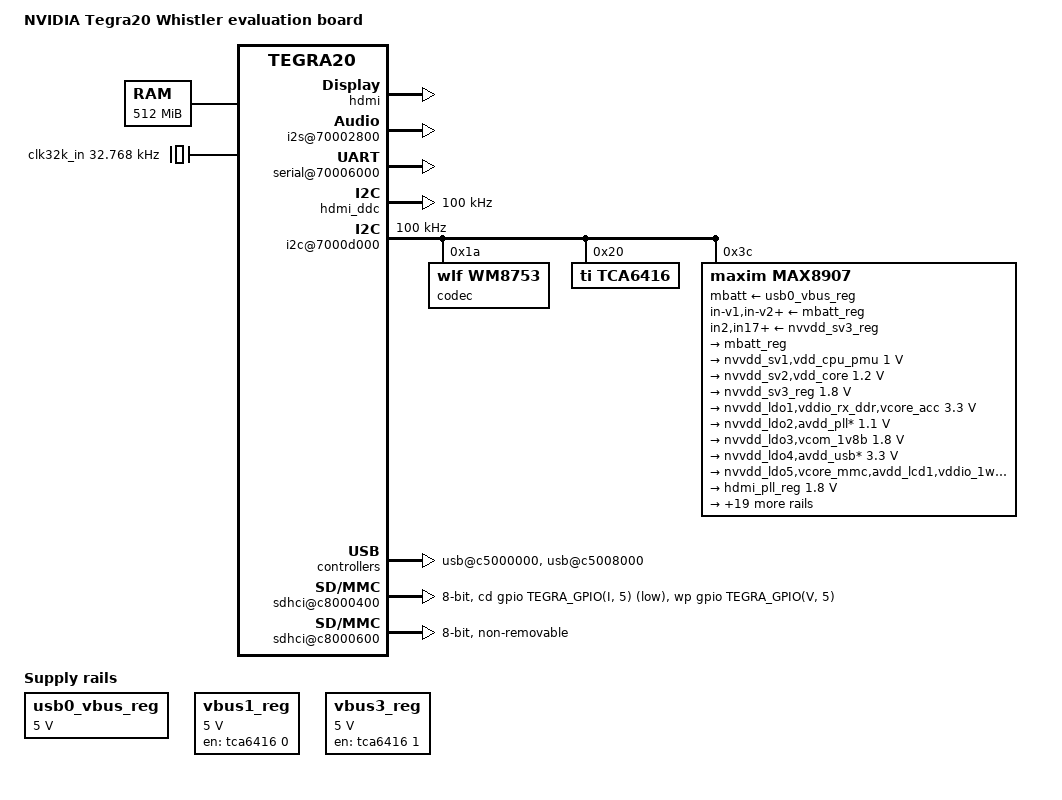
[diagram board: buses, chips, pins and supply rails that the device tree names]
/dts-v1/;

#include "tegra20.dtsi"

/ {
	model = "NVIDIA Tegra20 Whistler evaluation board";
	compatible = "nvidia,whistler", "nvidia,tegra20";

	memory {
		reg = <0x00000000 0x20000000>;
	};

	host1x {
		hdmi {
			status = "okay";

			vdd-supply = <&hdmi_vdd_reg>;
			pll-supply = <&hdmi_pll_reg>;

			nvidia,ddc-i2c-bus = <&hdmi_ddc>;
			nvidia,hpd-gpio = <&gpio TEGRA_GPIO(N, 7)
				GPIO_ACTIVE_HIGH>;
		};
	};

	pinmux {
		pinctrl-names = "default";
		pinctrl-0 = <&state_default>;

		state_default: pinmux {
			ata {
				nvidia,pins = "ata", "atb", "ate", "gma", "gmb",
					"gmc", "gmd", "gpu";
				nvidia,function = "gmi";
			};
			atc {
				nvidia,pins = "atc", "atd";
				nvidia,function = "sdio4";
			};
			cdev1 {
				nvidia,pins = "cdev1";
				nvidia,function = "plla_out";
			};
			cdev2 {
				nvidia,pins = "cdev2";
				nvidia,function = "osc";
			};
			crtp {
				nvidia,pins = "crtp";
				nvidia,function = "crt";
			};
			csus {
				nvidia,pins = "csus";
				nvidia,function = "vi_sensor_clk";
			};
			dap1 {
				nvidia,pins = "dap1";
				nvidia,function = "dap1";
			};
			dap2 {
				nvidia,pins = "dap2";
				nvidia,function = "dap2";
			};
			dap3 {
				nvidia,pins = "dap3";
				nvidia,function = "dap3";
			};
			dap4 {
				nvidia,pins = "dap4";
				nvidia,function = "dap4";
			};
			ddc {
				nvidia,pins = "ddc";
				nvidia,function = "i2c2";
			};
			dta {
				nvidia,pins = "dta", "dtb", "dtc", "dtd";
				nvidia,function = "vi";
			};
			dte {
				nvidia,pins = "dte";
				nvidia,function = "rsvd1";
			};
			dtf {
				nvidia,pins = "dtf";
				nvidia,function = "i2c3";
			};
			gme {
				nvidia,pins = "gme";
				nvidia,function = "dap5";
			};
			gpu7 {
				nvidia,pins = "gpu7";
				nvidia,function = "rtck";
			};
			gpv {
				nvidia,pins = "gpv";
				nvidia,function = "pcie";
			};
			hdint {
				nvidia,pins = "hdint", "pta";
				nvidia,function = "hdmi";
			};
			i2cp {
				nvidia,pins = "i2cp";
				nvidia,function = "i2cp";
			};
			irrx {
				nvidia,pins = "irrx", "irtx";
				nvidia,function = "uartb";
			};
			kbca {
				nvidia,pins = "kbca", "kbcc", "kbce", "kbcf";
				nvidia,function = "kbc";
			};
			kbcb {
				nvidia,pins = "kbcb", "kbcd";
				nvidia,function = "sdio2";
			};
			lcsn {
				nvidia,pins = "lcsn", "lsck", "lsda", "lsdi",
					"spia", "spib", "spic";
				nvidia,function = "spi3";
			};
			ld0 {
				nvidia,pins = "ld0", "ld1", "ld2", "ld3", "ld4",
					"ld5", "ld6", "ld7", "ld8", "ld9",
					"ld10", "ld11", "ld12", "ld13", "ld14",
					"ld15", "ld16", "ld17", "ldc", "ldi",
					"lhp0", "lhp1", "lhp2", "lhs", "lm0",
					"lm1", "lpp", "lpw0", "lpw1", "lpw2",
					"lsc0", "lsc1", "lspi", "lvp0", "lvp1",
					"lvs";
				nvidia,function = "displaya";
			};
			owc {
				nvidia,pins = "owc", "uac";
				nvidia,function = "owr";
			};
			pmc {
				nvidia,pins = "pmc";
				nvidia,function = "pwr_on";
			};
			rm {
				nvidia,pins = "rm";
				nvidia,function = "i2c1";
			};
			sdb {
				nvidia,pins = "sdb", "sdc", "sdd", "slxa",
					"slxc", "slxd", "slxk";
				nvidia,function = "sdio3";
			};
			sdio1 {
				nvidia,pins = "sdio1";
				nvidia,function = "sdio1";
			};
			spdi {
				nvidia,pins = "spdi", "spdo";
				nvidia,function = "rsvd2";
			};
			spid {
				nvidia,pins = "spid", "spie", "spig", "spih";
				nvidia,function = "spi2_alt";
			};
			spif {
				nvidia,pins = "spif";
				nvidia,function = "spi2";
			};
			uaa {
				nvidia,pins = "uaa", "uab";
				nvidia,function = "uarta";
			};
			uad {
				nvidia,pins = "uad";
				nvidia,function = "irda";
			};
			uca {
				nvidia,pins = "uca", "ucb";
				nvidia,function = "uartc";
			};
			uda {
				nvidia,pins = "uda";
				nvidia,function = "spi1";
			};
			conf_ata {
				nvidia,pins = "ata", "atb", "atc", "ddc", "gma",
					"gmb", "gmc", "gmd", "irrx", "irtx",
					"kbca", "kbcb", "kbcc", "kbcd", "kbce",
					"kbcf", "sdc", "sdd", "spie", "spig",
					"spih", "uaa", "uab", "uad", "uca",
					"ucb";
				nvidia,pull = <2>;
				nvidia,tristate = <0>;
			};
			conf_atd {
				nvidia,pins = "atd", "ate", "cdev1", "csus",
					"dap1", "dap2", "dap3", "dap4", "dte",
					"dtf", "gpu", "gpu7", "gpv", "i2cp",
					"rm", "sdio1", "slxa", "slxc", "slxd",
					"slxk", "spdi", "spdo", "uac", "uda";
				nvidia,pull = <0>;
				nvidia,tristate = <0>;
			};
			conf_cdev2 {
				nvidia,pins = "cdev2", "spia", "spib";
				nvidia,pull = <1>;
				nvidia,tristate = <1>;
			};
			conf_ck32 {
				nvidia,pins = "ck32", "ddrc", "lc", "pmca",
					"pmcb", "pmcc", "pmcd", "xm2c",
					"xm2d";
				nvidia,pull = <0>;
			};
			conf_crtp {
				nvidia,pins = "crtp";
				nvidia,pull = <0>;
				nvidia,tristate = <1>;
			};
			conf_dta {
				nvidia,pins = "dta", "dtb", "dtc", "dtd",
					"spid", "spif";
				nvidia,pull = <1>;
				nvidia,tristate = <0>;
			};
			conf_gme {
				nvidia,pins = "gme", "owc", "pta", "spic";
				nvidia,pull = <2>;
				nvidia,tristate = <1>;
			};
			conf_ld17_0 {
				nvidia,pins = "ld17_0", "ld19_18", "ld21_20",
					"ld23_22";
				nvidia,pull = <1>;
			};
			conf_ls {
				nvidia,pins = "ls", "pmce";
				nvidia,pull = <2>;
			};
			drive_dap1 {
				nvidia,pins = "drive_dap1";
				nvidia,high-speed-mode = <0>;
				nvidia,schmitt = <1>;
				nvidia,low-power-mode = <0>;
				nvidia,pull-down-strength = <0>;
				nvidia,pull-up-strength = <0>;
				nvidia,slew-rate-rising = <0>;
				nvidia,slew-rate-falling = <0>;
			};
		};
	};

	i2s@70002800 {
		status = "okay";
	};

	serial@70006000 {
		status = "okay";
	};

	hdmi_ddc: i2c@7000c400 {
		status = "okay";
		clock-frequency = <100000>;
	};

	i2c@7000d000 {
		status = "okay";
		clock-frequency = <100000>;

		codec: codec@1a {
			compatible = "wlf,wm8753";
			reg = <0x1a>;
		};

		tca6416: gpio@20 {
			compatible = "ti,tca6416";
			reg = <0x20>;
			gpio-controller;
			#gpio-cells = <2>;
		};

		max8907@3c {
			compatible = "maxim,max8907";
			reg = <0x3c>;
			interrupts = <GIC_SPI 86 IRQ_TYPE_LEVEL_HIGH>;

			maxim,system-power-controller;

			mbatt-supply = <&usb0_vbus_reg>;
			in-v1-supply = <&mbatt_reg>;
			in-v2-supply = <&mbatt_reg>;
			in-v3-supply = <&mbatt_reg>;
			in1-supply = <&mbatt_reg>;
			in2-supply = <&nvvdd_sv3_reg>;
			in3-supply = <&mbatt_reg>;
			in4-supply = <&mbatt_reg>;
			in5-supply = <&mbatt_reg>;
			in6-supply = <&mbatt_reg>;
			in7-supply = <&mbatt_reg>;
			in8-supply = <&mbatt_reg>;
			in9-supply = <&mbatt_reg>;
			in10-supply = <&mbatt_reg>;
			in11-supply = <&mbatt_reg>;
			in12-supply = <&mbatt_reg>;
			in13-supply = <&mbatt_reg>;
			in14-supply = <&mbatt_reg>;
			in15-supply = <&mbatt_reg>;
			in16-supply = <&mbatt_reg>;
			in17-supply = <&nvvdd_sv3_reg>;
			in18-supply = <&nvvdd_sv3_reg>;
			in19-supply = <&mbatt_reg>;
			in20-supply = <&mbatt_reg>;

			regulators {
				mbatt_reg: mbatt {
					regulator-name = "vbat_pmu";
					regulator-always-on;
				};

				sd1 {
					regulator-name = "nvvdd_sv1,vdd_cpu_pmu";
					regulator-min-microvolt = <1000000>;
					regulator-max-microvolt = <1000000>;
					regulator-always-on;
				};

				sd2 {
					regulator-name = "nvvdd_sv2,vdd_core";
					regulator-min-microvolt = <1200000>;
					regulator-max-microvolt = <1200000>;
					regulator-always-on;
				};

				nvvdd_sv3_reg: sd3 {
					regulator-name = "nvvdd_sv3";
					regulator-min-microvolt = <1800000>;
					regulator-max-microvolt = <1800000>;
					regulator-always-on;
				};

				ldo1 {
					regulator-name = "nvvdd_ldo1,vddio_rx_ddr,vcore_acc";
					regulator-min-microvolt = <3300000>;
					regulator-max-microvolt = <3300000>;
					regulator-always-on;
				};

				ldo2 {
					regulator-name = "nvvdd_ldo2,avdd_pll*";
					regulator-min-microvolt = <1100000>;
					regulator-max-microvolt = <1100000>;
					regulator-always-on;
				};

				ldo3 {
					regulator-name = "nvvdd_ldo3,vcom_1v8b";
					regulator-min-microvolt = <1800000>;
					regulator-max-microvolt = <1800000>;
					regulator-always-on;
				};

				ldo4 {
					regulator-name = "nvvdd_ldo4,avdd_usb*";
					regulator-min-microvolt = <3300000>;
					regulator-max-microvolt = <3300000>;
					regulator-always-on;
				};

				ldo5 {
					regulator-name = "nvvdd_ldo5,vcore_mmc,avdd_lcd1,vddio_1wire";
					regulator-min-microvolt = <2800000>;
					regulator-max-microvolt = <2800000>;
					regulator-always-on;
				};

				hdmi_pll_reg: ldo6 {
					regulator-name = "nvvdd_ldo6,avdd_hdmi_pll";
					regulator-min-microvolt = <1800000>;
					regulator-max-microvolt = <1800000>;
				};

				ldo7 {
					regulator-name = "nvvdd_ldo7,avddio_audio";
					regulator-min-microvolt = <2800000>;
					regulator-max-microvolt = <2800000>;
					regulator-always-on;
				};

				ldo8 {
					regulator-name = "nvvdd_ldo8,vcom_3v0,vcore_cmps";
					regulator-min-microvolt = <3000000>;
					regulator-max-microvolt = <3000000>;
				};

				ldo9 {
					regulator-name = "nvvdd_ldo9,avdd_cam*";
					regulator-min-microvolt = <2800000>;
					regulator-max-microvolt = <2800000>;
				};

				ldo10 {
					regulator-name = "nvvdd_ldo10,avdd_usb_ic_3v0";
					regulator-min-microvolt = <3000000>;
					regulator-max-microvolt = <3000000>;
					regulator-always-on;
				};

				hdmi_vdd_reg: ldo11 {
					regulator-name = "nvvdd_ldo11,vddio_pex_clk,vcom_33,avdd_hdmi";
					regulator-min-microvolt = <3300000>;
					regulator-max-microvolt = <3300000>;
				};

				ldo12 {
					regulator-name = "nvvdd_ldo12,vddio_sdio";
					regulator-min-microvolt = <2800000>;
					regulator-max-microvolt = <2800000>;
					regulator-always-on;
				};

				ldo13 {
					regulator-name = "nvvdd_ldo13,vcore_phtn,vdd_af";
					regulator-min-microvolt = <2800000>;
					regulator-max-microvolt = <2800000>;
				};

				ldo14 {
					regulator-name = "nvvdd_ldo14,avdd_vdac";
					regulator-min-microvolt = <2800000>;
					regulator-max-microvolt = <2800000>;
				};

				ldo15 {
					regulator-name = "nvvdd_ldo15,vcore_temp,vddio_hdcp";
					regulator-min-microvolt = <3300000>;
					regulator-max-microvolt = <3300000>;
				};

				ldo16 {
					regulator-name = "nvvdd_ldo16,vdd_dbrtr";
					regulator-min-microvolt = <1300000>;
					regulator-max-microvolt = <1300000>;
				};

				ldo17 {
					regulator-name = "nvvdd_ldo17,vddio_mipi";
					regulator-min-microvolt = <1200000>;
					regulator-max-microvolt = <1200000>;
				};

				ldo18 {
					regulator-name = "nvvdd_ldo18,vddio_vi,vcore_cam*";
					regulator-min-microvolt = <1800000>;
					regulator-max-microvolt = <1800000>;
				};

				ldo19 {
					regulator-name = "nvvdd_ldo19,avdd_lcd2,vddio_lx";
					regulator-min-microvolt = <2800000>;
					regulator-max-microvolt = <2800000>;
				};

				ldo20 {
					regulator-name = "nvvdd_ldo20,vddio_ddr_1v2,vddio_hsic,vcom_1v2";
					regulator-min-microvolt = <1200000>;
					regulator-max-microvolt = <1200000>;
					regulator-always-on;
				};

				out5v {
					regulator-name = "usb0_vbus_reg";
				};

				out33v {
					regulator-name = "pmu_out3v3";
				};

				bbat {
					regulator-name = "pmu_bbat";
					regulator-min-microvolt = <2400000>;
					regulator-max-microvolt = <2400000>;
					regulator-always-on;
				};

				sdby {
					regulator-name = "vdd_aon";
					regulator-always-on;
				};

				vrtc {
					regulator-name = "vrtc,pmu_vccadc";
					regulator-always-on;
				};
			};
		};
	};

	pmc {
		nvidia,invert-interrupt;
		nvidia,suspend-mode = <2>;
		nvidia,cpu-pwr-good-time = <2000>;
		nvidia,cpu-pwr-off-time = <1000>;
		nvidia,core-pwr-good-time = <0 3845>;
		nvidia,core-pwr-off-time = <93727>;
		nvidia,core-power-req-active-high;
		nvidia,sys-clock-req-active-high;
		nvidia,combined-power-req;
	};

	usb@c5000000 {
		status = "okay";
		nvidia,vbus-gpio = <&tca6416 0 GPIO_ACTIVE_HIGH>;
	};

	usb-phy@c5000000 {
		status = "okay";
		vbus-supply = <&vbus1_reg>;
	};

	usb@c5008000 {
		status = "okay";
		nvidia,vbus-gpio = <&tca6416 1 GPIO_ACTIVE_HIGH>;
	};

	usb-phy@c5008000 {
		status = "okay";
		vbus-supply = <&vbus3_reg>;
	};

	sdhci@c8000400 {
		status = "okay";
		cd-gpios = <&gpio TEGRA_GPIO(I, 5) GPIO_ACTIVE_LOW>;
		wp-gpios = <&gpio TEGRA_GPIO(V, 5) GPIO_ACTIVE_HIGH>;
		bus-width = <8>;
	};

	sdhci@c8000600 {
		status = "okay";
		bus-width = <8>;
		non-removable;
	};

	clocks {
		compatible = "simple-bus";
		#address-cells = <1>;
		#size-cells = <0>;

		clk32k_in: clock {
			compatible = "fixed-clock";
			reg=<0>;
			#clock-cells = <0>;
			clock-frequency = <32768>;
		};
	};

	kbc {
		status = "okay";
		nvidia,debounce-delay-ms = <20>;
		nvidia,repeat-delay-ms = <160>;
		nvidia,kbc-row-pins = <0 1 2>;
		nvidia,kbc-col-pins = <16 17>;
		nvidia,wakeup-source;
		linux,keymap = <0x00000074	/* KEY_POWER */
				0x01000066	/* KEY_HOME */
				0x0101009E	/* KEY_BACK */
				0x0201008B>;	/* KEY_MENU */
	};

	regulators {
		compatible = "simple-bus";
		#address-cells = <1>;
		#size-cells = <0>;

		usb0_vbus_reg: regulator {
			compatible = "regulator-fixed";
			reg = <0>;
			regulator-name = "usb0_vbus";
			regulator-min-microvolt = <5000000>;
			regulator-max-microvolt = <5000000>;
			regulator-always-on;
		};

		vbus1_reg: regulator@2 {
			compatible = "regulator-fixed";
			reg = <2>;
			regulator-name = "vbus1";
			regulator-min-microvolt = <5000000>;
			regulator-max-microvolt = <5000000>;
			enable-active-high;
			gpio = <&tca6416 0 0>; /* GPIO_PMU0 */
			regulator-always-on;
			regulator-boot-on;
		};

		vbus3_reg: regulator@3 {
			compatible = "regulator-fixed";
			reg = <3>;
			regulator-name = "vbus3";
			regulator-min-microvolt = <5000000>;
			regulator-max-microvolt = <5000000>;
			enable-active-high;
			gpio = <&tca6416 1 0>; /* GPIO_PMU1 */
			regulator-always-on;
			regulator-boot-on;
		};
	};

	sound {
		compatible = "nvidia,tegra-audio-wm8753-whistler",
			     "nvidia,tegra-audio-wm8753";
		nvidia,model = "NVIDIA Tegra Whistler";

		nvidia,audio-routing =
			"Headphone Jack", "LOUT1",
			"Headphone Jack", "ROUT1",
			"MIC2", "Mic Jack",
			"MIC2N", "Mic Jack";

		nvidia,i2s-controller = <&tegra_i2s1>;
		nvidia,audio-codec = <&codec>;

		clocks = <&tegra_car TEGRA20_CLK_PLL_A>,
			 <&tegra_car TEGRA20_CLK_PLL_A_OUT0>,
			 <&tegra_car TEGRA20_CLK_CDEV1>;
		clock-names = "pll_a", "pll_a_out0", "mclk";
	};
};
